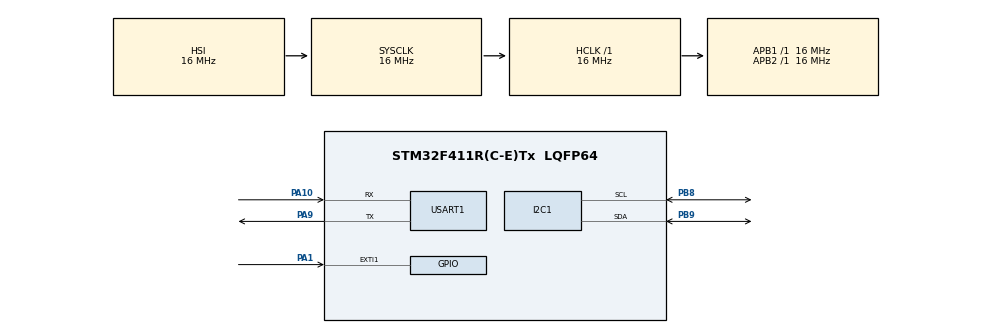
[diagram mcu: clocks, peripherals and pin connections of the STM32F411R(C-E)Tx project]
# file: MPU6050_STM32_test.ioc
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Mcu.Family=STM32F4
Mcu.Name=STM32F411R(C-E)Tx
Mcu.Package=LQFP64
NVIC.EXTI1_IRQn=true\:0\:0\:false\:false\:true\:true\:true\:true
NVIC.PriorityGroup=NVIC_PRIORITYGROUP_4
PA1.Signal=GPXTI1
PA10.Mode=Asynchronous
PA10.Signal=USART1_RX
PA13.Mode=Serial_Wire
PA13.Signal=SYS_JTMS-SWDIO
PA14.Mode=Serial_Wire
PA14.Signal=SYS_JTCK-SWCLK
PA9.Mode=Asynchronous
PA9.Signal=USART1_TX
PB8.Mode=I2C
PB8.Signal=I2C1_SCL
PB9.Mode=I2C
PB9.Signal=I2C1_SDA
PH0\ -\ OSC_IN.Mode=HSE-External-Oscillator
PH0\ -\ OSC_IN.Signal=RCC_OSC_IN
PH1\ -\ OSC_OUT.Mode=HSE-External-Oscillator
PH1\ -\ OSC_OUT.Signal=RCC_OSC_OUT
ProjectManager.HeapSize=0x200
ProjectManager.StackSize=0x400
ProjectManager.TargetToolchain=STM32CubeIDE
RCC.AHBFreq_Value=16000000
RCC.APB1Freq_Value=16000000
RCC.APB2Freq_Value=16000000
RCC.CortexFreq_Value=16000000
RCC.HSE_VALUE=25000000
RCC.HSI_VALUE=16000000
RCC.LSE_VALUE=32768
RCC.SYSCLKFreq_VALUE=16000000
RCC.VCOOutputFreq_Value=192000000
USART1.VirtualMode=VM_ASYNC
board=custom

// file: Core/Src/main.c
/* USER CODE BEGIN Header */
/**
  ******************************************************************************
  * @file           : main.c
  * @brief          : Main program body
  ******************************************************************************
  * @attention
  *
  * Copyright (c) 2025 STMicroelectronics.
  * All rights reserved.
  *
  * This software is licensed under terms that can be found in the LICENSE file
  * in the root directory of this software component.
  * If no LICENSE file comes with this software, it is provided AS-IS.
  *
  ******************************************************************************
  */
/* USER CODE END Header */
#include "main.h"

/* USER CODE BEGIN Includes */
#include "mpu6050.h"
/* USER CODE END Includes */

I2C_HandleTypeDef hi2c1;

UART_HandleTypeDef huart1;

/* USER CODE BEGIN PV */
volatile uint8_t mpu_data_ready = 0;
MPU6050_t mpu;

char uart_buf[128];
/* USER CODE END PV */

void SystemClock_Config(void);
static void MX_GPIO_Init(void);
static void MX_I2C1_Init(void);
static void MX_USART1_UART_Init(void);

int main(void)
{

  /* MCU Configuration--------------------------------------------------------*/

  /* Reset of all peripherals, Initializes the Flash interface and the Systick. */
  HAL_Init();

  /* Configure the system clock */
  SystemClock_Config();

  /* Initialize all configured peripherals */
  MX_GPIO_Init();
  MX_I2C1_Init();
  MX_USART1_UART_Init();
  /* USER CODE BEGIN 2 */
  if (MPU6050_Init(MPU6050_Accelerometer_2G,
                   MPU6050_Gyroscope_250_deg,
                   MPU6050_DataRate_1KHz) == MPU6050_SUCCESS)
  {
      printf("MPU6050 INIT OK\r\n");
  }
  else
  {
      printf("MPU6050 INIT FAIL\r\n");
  }
//  MPU6050_set_power_mode(MPU6050_POWER_ON, 0);

  // Enable DATA_READY interrupt
  MPU6050_enable_irq(LATCH_IRQ_EN | IRQ_RD_CLEAR);

  /* USER CODE END 2 */

  /* Infinite loop */
  /* USER CODE BEGIN WHILE */
  while (1)
  {
	  if (mpu_data_ready)
	  {
	      mpu_data_ready = 0;

	      MPU6050_Read_All(&mpu);

	      int len = snprintf(uart_buf, sizeof(uart_buf),
	          "$IMU,%.2f,%.2f,%.2f,%.2f,%.2f,%.2f,%.2f\r\n",
	          mpu.Ax, mpu.Ay, mpu.Az,
	          mpu.Gx, mpu.Gy,
	          mpu.KalmanAngleY,
	          mpu.KalmanAngleX
	      );

	      HAL_UART_Transmit(&huart1,
	                        (uint8_t*)uart_buf,
	                        len,
	                        HAL_MAX_DELAY);
	      HAL_Delay(500);
	  }

    /* USER CODE END WHILE */

  }
}

void SystemClock_Config(void)
{
  RCC_OscInitTypeDef RCC_OscInitStruct = {0};
  RCC_ClkInitTypeDef RCC_ClkInitStruct = {0};

  /** Configure the main internal regulator output voltage
  */
  __HAL_RCC_PWR_CLK_ENABLE();
  __HAL_PWR_VOLTAGESCALING_CONFIG(PWR_REGULATOR_VOLTAGE_SCALE1);

  /** Initializes the RCC Oscillators according to the specified parameters
  * in the RCC_OscInitTypeDef structure.
  */
  RCC_OscInitStruct.OscillatorType = RCC_OSCILLATORTYPE_HSI;
  RCC_OscInitStruct.HSIState = RCC_HSI_ON;
  RCC_OscInitStruct.HSICalibrationValue = RCC_HSICALIBRATION_DEFAULT;
  RCC_OscInitStruct.PLL.PLLState = RCC_PLL_NONE;
  if (HAL_RCC_OscConfig(&RCC_OscInitStruct) != HAL_OK)
  {
    Error_Handler();
  }

  /** Initializes the CPU, AHB and APB buses clocks
  */
  RCC_ClkInitStruct.ClockType = RCC_CLOCKTYPE_HCLK|RCC_CLOCKTYPE_SYSCLK
                              |RCC_CLOCKTYPE_PCLK1|RCC_CLOCKTYPE_PCLK2;
  RCC_ClkInitStruct.SYSCLKSource = RCC_SYSCLKSOURCE_HSI;
  RCC_ClkInitStruct.AHBCLKDivider = RCC_SYSCLK_DIV1;
  RCC_ClkInitStruct.APB1CLKDivider = RCC_HCLK_DIV1;
  RCC_ClkInitStruct.APB2CLKDivider = RCC_HCLK_DIV1;

  if (HAL_RCC_ClockConfig(&RCC_ClkInitStruct, FLASH_LATENCY_0) != HAL_OK)
  {
    Error_Handler();
  }
}

static void MX_I2C1_Init(void)
{

  hi2c1.Instance = I2C1;
  hi2c1.Init.ClockSpeed = 100000;
  hi2c1.Init.DutyCycle = I2C_DUTYCYCLE_2;
  hi2c1.Init.OwnAddress1 = 0;
  hi2c1.Init.AddressingMode = I2C_ADDRESSINGMODE_7BIT;
  hi2c1.Init.DualAddressMode = I2C_DUALADDRESS_DISABLE;
  hi2c1.Init.OwnAddress2 = 0;
  hi2c1.Init.GeneralCallMode = I2C_GENERALCALL_DISABLE;
  hi2c1.Init.NoStretchMode = I2C_NOSTRETCH_DISABLE;
  if (HAL_I2C_Init(&hi2c1) != HAL_OK)
  {
    Error_Handler();
  }

}

static void MX_USART1_UART_Init(void)
{

  huart1.Instance = USART1;
  huart1.Init.BaudRate = 115200;
  huart1.Init.WordLength = UART_WORDLENGTH_8B;
  huart1.Init.StopBits = UART_STOPBITS_1;
  huart1.Init.Parity = UART_PARITY_NONE;
  huart1.Init.Mode = UART_MODE_TX_RX;
  huart1.Init.HwFlowCtl = UART_HWCONTROL_NONE;
  huart1.Init.OverSampling = UART_OVERSAMPLING_16;
  if (HAL_UART_Init(&huart1) != HAL_OK)
  {
    Error_Handler();
  }

}

static void MX_GPIO_Init(void)
{
  GPIO_InitTypeDef GPIO_InitStruct = {0};

  /* GPIO Ports Clock Enable */
  __HAL_RCC_GPIOH_CLK_ENABLE();
  __HAL_RCC_GPIOA_CLK_ENABLE();
  __HAL_RCC_GPIOB_CLK_ENABLE();

  /*Configure GPIO pin : PA1 */
  GPIO_InitStruct.Pin = GPIO_PIN_1;
  GPIO_InitStruct.Mode = GPIO_MODE_IT_RISING;
  GPIO_InitStruct.Pull = GPIO_NOPULL;
  HAL_GPIO_Init(GPIOA, &GPIO_InitStruct);

  /* EXTI interrupt init*/
  HAL_NVIC_SetPriority(EXTI1_IRQn, 0, 0);
  HAL_NVIC_EnableIRQ(EXTI1_IRQn);

}

/* USER CODE BEGIN 4 */
int _write(int file, char *ptr, int len)
{
  HAL_UART_Transmit(&huart1, (uint8_t *)ptr, len, HAL_MAX_DELAY);
  return len;
}

void HAL_GPIO_EXTI_Callback(uint16_t GPIO_Pin)
{
  if (GPIO_Pin == GPIO_PIN_1)   // PA1 = MPU6050 INT
  {
    mpu_data_ready = 1;
  }
}
/* USER CODE END 4 */

void Error_Handler(void)
{
  __disable_irq();
  while (1)
  {
  }
}
